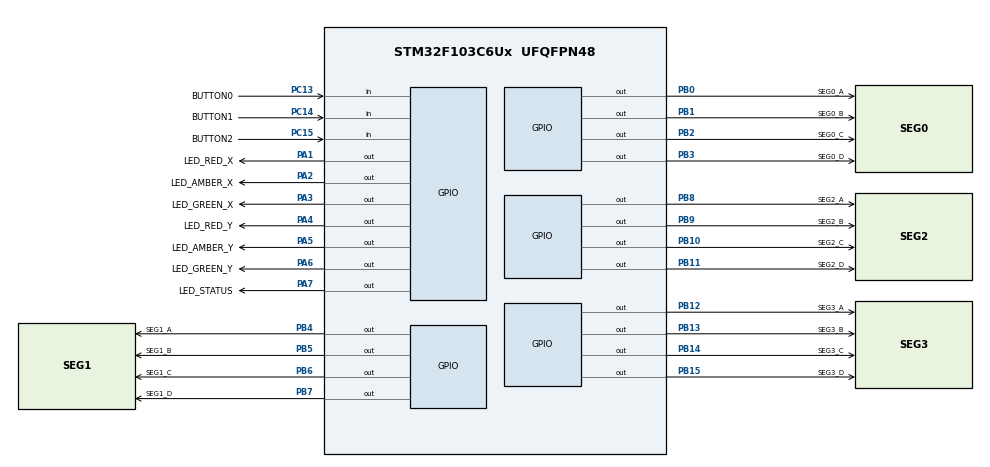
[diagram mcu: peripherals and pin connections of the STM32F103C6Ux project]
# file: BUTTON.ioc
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Mcu.Family=STM32F1
Mcu.Name=STM32F103C6Ux
Mcu.Package=UFQFPN48
NVIC.PriorityGroup=NVIC_PRIORITYGROUP_4
NVIC.TIM2_IRQn=true\:0\:0\:false\:false\:true\:true\:true
PA1.GPIO_Label=LED_RED_X
PA1.Signal=GPIO_Output
PA2.GPIO_Label=LED_AMBER_X
PA2.Signal=GPIO_Output
PA3.GPIO_Label=LED_GREEN_X
PA3.Signal=GPIO_Output
PA4.GPIO_Label=LED_RED_Y
PA4.Signal=GPIO_Output
PA5.GPIO_Label=LED_AMBER_Y
PA5.Signal=GPIO_Output
PA6.GPIO_Label=LED_GREEN_Y
PA6.Signal=GPIO_Output
PA7.GPIO_Label=LED_STATUS
PA7.Signal=GPIO_Output
PB0.GPIO_Label=SEG0_A
PB0.Signal=GPIO_Output
PB1.GPIO_Label=SEG0_B
PB1.Signal=GPIO_Output
PB10.GPIO_Label=SEG2_C
PB10.Signal=GPIO_Output
PB11.GPIO_Label=SEG2_D
PB11.Signal=GPIO_Output
PB12.GPIO_Label=SEG3_A
PB12.Signal=GPIO_Output
PB13.GPIO_Label=SEG3_B
PB13.Signal=GPIO_Output
PB14.GPIO_Label=SEG3_C
PB14.Signal=GPIO_Output
PB15.GPIO_Label=SEG3_D
PB15.Signal=GPIO_Output
PB2.GPIO_Label=SEG0_C
PB2.Signal=GPIO_Output
PB3.GPIO_Label=SEG0_D
PB3.Signal=GPIO_Output
PB4.GPIO_Label=SEG1_A
PB4.Signal=GPIO_Output
PB5.GPIO_Label=SEG1_B
PB5.Signal=GPIO_Output
PB6.GPIO_Label=SEG1_C
PB6.Signal=GPIO_Output
PB7.GPIO_Label=SEG1_D
PB7.Signal=GPIO_Output
PB8.GPIO_Label=SEG2_A
PB8.Signal=GPIO_Output
PB9.GPIO_Label=SEG2_B
PB9.Signal=GPIO_Output
PC13-TAMPER-RTC.GPIO_Label=BUTTON0
PC13-TAMPER-RTC.GPIO_PuPd=GPIO_PULLUP
PC13-TAMPER-RTC.Signal=GPIO_Input
PC14-OSC32_IN.GPIO_Label=BUTTON1
PC14-OSC32_IN.GPIO_PuPd=GPIO_PULLUP
PC14-OSC32_IN.Signal=GPIO_Input
PC15-OSC32_OUT.GPIO_Label=BUTTON2
PC15-OSC32_OUT.GPIO_PuPd=GPIO_PULLUP
PC15-OSC32_OUT.Signal=GPIO_Input
ProjectManager.HeapSize=0x200
ProjectManager.StackSize=0x400
ProjectManager.TargetToolchain=STM32CubeIDE
RCC.APB1Freq_Value=8000000
RCC.APB2Freq_Value=8000000
TIM2.Period=9
TIM2.Prescaler=7999
VP_SYS_VS_ND.Mode=No_Debug
VP_TIM2_VS_ClockSourceINT.Mode=Internal
board=custom

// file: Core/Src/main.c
/* USER CODE BEGIN Header */
/**
  ******************************************************************************
  * @file           : main.c
  * @brief          : Main program body
  ******************************************************************************
  * @attention
  *
  * <h2><center>&copy; Copyright (c) 2023 STMicroelectronics.
  * All rights reserved.</center></h2>
  *
  * This software component is licensed by ST under BSD 3-Clause license,
  * the "License"; You may not use this file except in compliance with the
  * License. You may obtain a copy of the License at:
  *                        opensource.org/licenses/BSD-3-Clause
  *
  ******************************************************************************
  */
/* USER CODE END Header */
#include "main.h"

/* USER CODE BEGIN Includes */
#include "software_timer.h"
#include "processing.h"
#include "control_leds_segment.h"
#include "button.h"
/* USER CODE END Includes */

TIM_HandleTypeDef htim2;

/* USER CODE BEGIN PV */
int pre_timer = 1;
/* USER CODE END PV */

void SystemClock_Config(void);
static void MX_GPIO_Init(void);
static void MX_TIM2_Init(void);

int main(void)
{

  /* MCU Configuration--------------------------------------------------------*/

  /* Reset of all peripherals, Initializes the Flash interface and the Systick. */
  HAL_Init();

  /* Configure the system clock */
  SystemClock_Config();

  /* Initialize all configured peripherals */
  MX_GPIO_Init();
  MX_TIM2_Init();
  /* USER CODE BEGIN 2 */
  HAL_TIM_Base_Start_IT(&htim2);
  /* USER CODE END 2 */

  /* Infinite loop */
  /* USER CODE BEGIN WHILE */
  int hclk = HAL_RCC_GetHCLKFreq();
  int pre = htim2.Init.Prescaler;
  int period = htim2.Init.Period;
  pre_timer = hclk/pre/period;
  INIT_MODE();
  while (1)
  {
	  fsm();
	  if (timer_status_flag == 1){
		  // status led toggle every 1s
		  HAL_GPIO_TogglePin(LED_STATUS_GPIO_Port, LED_STATUS_Pin);
		  setTimerStatus(1000);
	  }
    /* USER CODE END WHILE */

  }
}

void SystemClock_Config(void)
{
  RCC_OscInitTypeDef RCC_OscInitStruct = {0};
  RCC_ClkInitTypeDef RCC_ClkInitStruct = {0};

  /** Initializes the RCC Oscillators according to the specified parameters
  * in the RCC_OscInitTypeDef structure.
  */
  RCC_OscInitStruct.OscillatorType = RCC_OSCILLATORTYPE_HSI;
  RCC_OscInitStruct.HSIState = RCC_HSI_ON;
  RCC_OscInitStruct.HSICalibrationValue = RCC_HSICALIBRATION_DEFAULT;
  RCC_OscInitStruct.PLL.PLLState = RCC_PLL_NONE;
  if (HAL_RCC_OscConfig(&RCC_OscInitStruct) != HAL_OK)
  {
    Error_Handler();
  }
  /** Initializes the CPU, AHB and APB buses clocks
  */
  RCC_ClkInitStruct.ClockType = RCC_CLOCKTYPE_HCLK|RCC_CLOCKTYPE_SYSCLK
                              |RCC_CLOCKTYPE_PCLK1|RCC_CLOCKTYPE_PCLK2;
  RCC_ClkInitStruct.SYSCLKSource = RCC_SYSCLKSOURCE_HSI;
  RCC_ClkInitStruct.AHBCLKDivider = RCC_SYSCLK_DIV1;
  RCC_ClkInitStruct.APB1CLKDivider = RCC_HCLK_DIV1;
  RCC_ClkInitStruct.APB2CLKDivider = RCC_HCLK_DIV1;

  if (HAL_RCC_ClockConfig(&RCC_ClkInitStruct, FLASH_LATENCY_0) != HAL_OK)
  {
    Error_Handler();
  }
}

static void MX_TIM2_Init(void)
{

  TIM_ClockConfigTypeDef sClockSourceConfig = {0};
  TIM_MasterConfigTypeDef sMasterConfig = {0};

  htim2.Instance = TIM2;
  htim2.Init.Prescaler = 7999;
  htim2.Init.CounterMode = TIM_COUNTERMODE_UP;
  htim2.Init.Period = 9;
  htim2.Init.ClockDivision = TIM_CLOCKDIVISION_DIV1;
  htim2.Init.AutoReloadPreload = TIM_AUTORELOAD_PRELOAD_DISABLE;
  if (HAL_TIM_Base_Init(&htim2) != HAL_OK)
  {
    Error_Handler();
  }
  sClockSourceConfig.ClockSource = TIM_CLOCKSOURCE_INTERNAL;
  if (HAL_TIM_ConfigClockSource(&htim2, &sClockSourceConfig) != HAL_OK)
  {
    Error_Handler();
  }
  sMasterConfig.MasterOutputTrigger = TIM_TRGO_RESET;
  sMasterConfig.MasterSlaveMode = TIM_MASTERSLAVEMODE_DISABLE;
  if (HAL_TIMEx_MasterConfigSynchronization(&htim2, &sMasterConfig) != HAL_OK)
  {
    Error_Handler();
  }

}

static void MX_GPIO_Init(void)
{
  GPIO_InitTypeDef GPIO_InitStruct = {0};

  /* GPIO Ports Clock Enable */
  __HAL_RCC_GPIOC_CLK_ENABLE();
  __HAL_RCC_GPIOA_CLK_ENABLE();
  __HAL_RCC_GPIOB_CLK_ENABLE();

  /*Configure GPIO pin Output Level */
  HAL_GPIO_WritePin(GPIOA, LED_RED_X_Pin|LED_AMBER_X_Pin|LED_GREEN_X_Pin|LED_RED_Y_Pin
                          |LED_AMBER_Y_Pin|LED_GREEN_Y_Pin|LED_STATUS_Pin, GPIO_PIN_RESET);

  /*Configure GPIO pin Output Level */
  HAL_GPIO_WritePin(GPIOB, SEG0_A_Pin|SEG0_B_Pin|SEG0_C_Pin|SEG2_C_Pin
                          |SEG2_D_Pin|SEG3_A_Pin|SEG3_B_Pin|SEG3_C_Pin
                          |SEG3_D_Pin|SEG0_D_Pin|SEG1_A_Pin|SEG1_B_Pin
                          |SEG1_C_Pin|SEG1_D_Pin|SEG2_A_Pin|SEG2_B_Pin, GPIO_PIN_RESET);

  /*Configure GPIO pins : BUTTON0_Pin BUTTON1_Pin BUTTON2_Pin */
  GPIO_InitStruct.Pin = BUTTON0_Pin|BUTTON1_Pin|BUTTON2_Pin;
  GPIO_InitStruct.Mode = GPIO_MODE_INPUT;
  GPIO_InitStruct.Pull = GPIO_PULLUP;
  HAL_GPIO_Init(GPIOC, &GPIO_InitStruct);

  /*Configure GPIO pins : LED_RED_X_Pin LED_AMBER_X_Pin LED_GREEN_X_Pin LED_RED_Y_Pin
                           LED_AMBER_Y_Pin LED_GREEN_Y_Pin LED_STATUS_Pin */
  GPIO_InitStruct.Pin = LED_RED_X_Pin|LED_AMBER_X_Pin|LED_GREEN_X_Pin|LED_RED_Y_Pin
                          |LED_AMBER_Y_Pin|LED_GREEN_Y_Pin|LED_STATUS_Pin;
  GPIO_InitStruct.Mode = GPIO_MODE_OUTPUT_PP;
  GPIO_InitStruct.Pull = GPIO_NOPULL;
  GPIO_InitStruct.Speed = GPIO_SPEED_FREQ_LOW;
  HAL_GPIO_Init(GPIOA, &GPIO_InitStruct);

  /*Configure GPIO pins : SEG0_A_Pin SEG0_B_Pin SEG0_C_Pin SEG2_C_Pin
                           SEG2_D_Pin SEG3_A_Pin SEG3_B_Pin SEG3_C_Pin
                           SEG3_D_Pin SEG0_D_Pin SEG1_A_Pin SEG1_B_Pin
                           SEG1_C_Pin SEG1_D_Pin SEG2_A_Pin SEG2_B_Pin */
  GPIO_InitStruct.Pin = SEG0_A_Pin|SEG0_B_Pin|SEG0_C_Pin|SEG2_C_Pin
                          |SEG2_D_Pin|SEG3_A_Pin|SEG3_B_Pin|SEG3_C_Pin
                          |SEG3_D_Pin|SEG0_D_Pin|SEG1_A_Pin|SEG1_B_Pin
                          |SEG1_C_Pin|SEG1_D_Pin|SEG2_A_Pin|SEG2_B_Pin;
  GPIO_InitStruct.Mode = GPIO_MODE_OUTPUT_PP;
  GPIO_InitStruct.Pull = GPIO_NOPULL;
  GPIO_InitStruct.Speed = GPIO_SPEED_FREQ_LOW;
  HAL_GPIO_Init(GPIOB, &GPIO_InitStruct);

}

/* USER CODE BEGIN 4 */
void HAL_TIM_PeriodElapsedCallback(TIM_HandleTypeDef *htim){
	// Timer TODO
	if (htim->Instance == TIM2){
		timerRunTIM2();
		getKeyInput();
	}
}
/* USER CODE END 4 */

void Error_Handler(void)
{
  __disable_irq();
  while (1)
  {
  }
}

/************************ (C) COPYRIGHT STMicroelectronics *****END OF FILE****/
